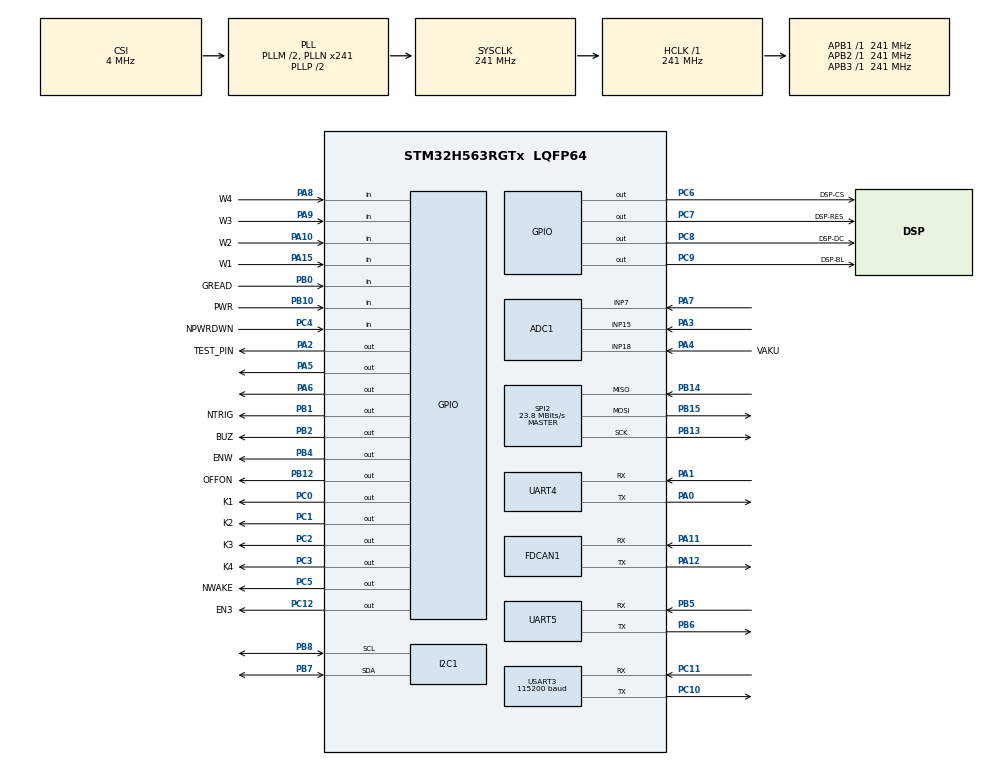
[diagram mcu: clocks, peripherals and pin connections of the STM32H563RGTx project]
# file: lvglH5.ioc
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ADC1.Channel-2\#ChannelRegularConversion=ADC_CHANNEL_18
ADC1.MonitoredBy-2\#ChannelRegularConversion=__NULL
ADC1.NbrOfConversionFlag=1
ADC1.OffsetNumber-2\#ChannelRegularConversion=ADC_OFFSET_NONE
ADC1.Rank-2\#ChannelRegularConversion=1
ADC1.SamplingTime-2\#ChannelRegularConversion=ADC_SAMPLETIME_2CYCLES_5
ADC1.master=1
BOOTPATH.BootPathName=LEGACY
BOOTPATH.UserSelectedBootPath=LEGACY
CORTEX_M33_NS.userName=CORTEX_M33
FDCAN1.CalculateBaudRateNominal=3012500
FDCAN1.CalculateTimeBitNominal=331
FDCAN1.CalculateTimeQuantumNominal=41.49377593360996
FDCAN1.NominalPrescaler=2
FDCAN1.NominalTimeSeg1=3
FDCAN1.NominalTimeSeg2=4
GPDMA1.LINKALLOCATEDPORT_GPDMACH7=DMA_LINK_ALLOCATED_PORT1
GPDMA1.PRIORITY_LL_GPDMACH6=DMA_LOW_PRIORITY_HIGH_WEIGHT
GPDMA1.PRIORITY_LL_GPDMACH7=DMA_LOW_PRIORITY_HIGH_WEIGHT
I2C1.Timing=0x50A09EED
Linkedlist.MDMA_Channel0.GP_SW.0.BlkHWRequest=DMA_BREQ_SINGLE_BURST
Linkedlist.MDMA_Channel0.GP_SW.0.DATAEXCHANGEDESRCBYTE=NONE
Linkedlist.MDMA_Channel0.GP_SW.0.DATAEXCHANGEDESTBYTE=NONE
Linkedlist.MDMA_Channel0.GP_SW.0.DATAEXCHANGEDESTHALFWORD=NONE
Linkedlist.MDMA_Channel0.GP_SW.0.DataAlignment=DMA_DATA_RIGHTALIGN_ZEROPADDED
Linkedlist.MDMA_Channel0.GP_SW.0.DataHandling=ENABLE
Linkedlist.MDMA_Channel0.GP_SW.0.DataSize=0
Linkedlist.MDMA_Channel0.GP_SW.0.DestBurstLength=1
Linkedlist.MDMA_Channel0.GP_SW.0.DestDataWidth=DMA_DEST_DATAWIDTH_BYTE
Linkedlist.MDMA_Channel0.GP_SW.0.DestInc=DMA_DINC_FIXED
Linkedlist.MDMA_Channel0.GP_SW.0.Direction=DMA_MEMORY_TO_PERIPH
Linkedlist.MDMA_Channel0.GP_SW.0.DstAddress=0
Linkedlist.MDMA_Channel0.GP_SW.0.Instance=MDMA_Channel0
Linkedlist.MDMA_Channel0.GP_SW.0.LL_MASTERDMA=GPDMA1
Linkedlist.MDMA_Channel0.GP_SW.0.LL_NAME=Queue_tx
Linkedlist.MDMA_Channel0.GP_SW.0.LL_TYPE=LINEAR
Linkedlist.MDMA_Channel0.GP_SW.0.Mode=DMA_NORMAL
Linkedlist.MDMA_Channel0.GP_SW.0.NODE_NAME=Node_tx
Linkedlist.MDMA_Channel0.GP_SW.0.Requestforcodegen=GPDMA1_REQUEST_SPI2_TX
Linkedlist.MDMA_Channel0.GP_SW.0.SrcAddress=0
Linkedlist.MDMA_Channel0.GP_SW.0.SrcBurstLength=1
Linkedlist.MDMA_Channel0.GP_SW.0.SrcDataWidth=DMA_SRC_DATAWIDTH_BYTE
Linkedlist.MDMA_Channel0.GP_SW.0.SrcInc=DMA_SINC_INCREMENTED
Linkedlist.MDMA_Channel0.GP_SW.0.TransferAllocatedPortSrc=DMA_SRC_ALLOCATED_PORT1
Linkedlist.MDMA_Channel0.GP_SW.0.TransferEventMode=DMA_TCEM_BLOCK_TRANSFER
Linkedlist.MDMA_Channel0.GP_SW.0.TriggerPolarity=DMA_TRIG_POLARITY_MASKED
Linkedlist.MDMA_Channel0.Request0=GP_SW
Linkedlist.MDMA_Channel0.RequestsNb=1
Linkedlist.MDMA_Channel1.GP_SW.0.BlkHWRequest=DMA_BREQ_SINGLE_BURST
Linkedlist.MDMA_Channel1.GP_SW.0.DATAEXCHANGEDESRCBYTE=NONE
Linkedlist.MDMA_Channel1.GP_SW.0.DATAEXCHANGEDESTBYTE=NONE
Linkedlist.MDMA_Channel1.GP_SW.0.DATAEXCHANGEDESTHALFWORD=NONE
Linkedlist.MDMA_Channel1.GP_SW.0.DataAlignment=DMA_DATA_RIGHTALIGN_ZEROPADDED
Linkedlist.MDMA_Channel1.GP_SW.0.DataHandling=ENABLE
Linkedlist.MDMA_Channel1.GP_SW.0.DataSize=0
Linkedlist.MDMA_Channel1.GP_SW.0.DestBurstLength=1
Linkedlist.MDMA_Channel1.GP_SW.0.DestDataWidth=DMA_DEST_DATAWIDTH_BYTE
Linkedlist.MDMA_Channel1.GP_SW.0.DestInc=DMA_DINC_INCREMENTED
Linkedlist.MDMA_Channel1.GP_SW.0.Direction=DMA_PERIPH_TO_MEMORY
Linkedlist.MDMA_Channel1.GP_SW.0.DstAddress=0
Linkedlist.MDMA_Channel1.GP_SW.0.Instance=MDMA_Channel1
Linkedlist.MDMA_Channel1.GP_SW.0.LL_MASTERDMA=GPDMA1
Linkedlist.MDMA_Channel1.GP_SW.0.LL_NAME=Queue_rx
Linkedlist.MDMA_Channel1.GP_SW.0.LL_TYPE=LINEAR
Linkedlist.MDMA_Channel1.GP_SW.0.Mode=DMA_NORMAL
Linkedlist.MDMA_Channel1.GP_SW.0.NODE_NAME=Node_rx
Linkedlist.MDMA_Channel1.GP_SW.0.Requestforcodegen=GPDMA1_REQUEST_SPI2_RX
Linkedlist.MDMA_Channel1.GP_SW.0.SrcAddress=0
Linkedlist.MDMA_Channel1.GP_SW.0.SrcBurstLength=1
Linkedlist.MDMA_Channel1.GP_SW.0.SrcDataWidth=DMA_SRC_DATAWIDTH_BYTE
Linkedlist.MDMA_Channel1.GP_SW.0.SrcInc=DMA_SINC_FIXED
Linkedlist.MDMA_Channel1.GP_SW.0.TransferAllocatedPortSrc=DMA_SRC_ALLOCATED_PORT0
Linkedlist.MDMA_Channel1.GP_SW.0.TransferEventMode=DMA_TCEM_BLOCK_TRANSFER
Linkedlist.MDMA_Channel1.GP_SW.0.TriggerPolarity=DMA_TRIG_POLARITY_MASKED
Linkedlist.MDMA_Channel1.Request0=GP_SW
Linkedlist.MDMA_Channel1.RequestsNb=1
Linkedlist.RequestSet0=MDMA_Channel0
Linkedlist.RequestSet1=MDMA_Channel1
Linkedlist.RequestSetsNb=2
Mcu.Family=STM32H5
Mcu.Name=STM32H563RGTx
Mcu.Package=LQFP64
NVIC.GPDMA1_Channel7_IRQn=true\:0\:0\:false\:false\:true\:true\:true\:true
NVIC.PriorityGroup=NVIC_PRIORITYGROUP_4
NVIC.SPI2_IRQn=true\:0\:0\:false\:false\:true\:true\:true\:true
NVIC.UART4_IRQn=true\:0\:0\:false\:false\:true\:true\:true\:true
NVIC.UART5_IRQn=true\:0\:0\:false\:false\:true\:true\:true\:true
NVIC.USART3_IRQn=true\:0\:0\:false\:false\:true\:true\:true\:true
PA0.Mode=Asynchronous
PA0.Signal=UART4_TX
PA1.Mode=Asynchronous
PA1.Signal=UART4_RX
PA10.GPIO_Label=W2
PA10.GPIO_PuPd=GPIO_PULLUP
PA10.Signal=GPIO_Input
PA11.Mode=FDCAN_Activate
PA11.Signal=FDCAN1_RX
PA12.Mode=FDCAN_Activate
PA12.Signal=FDCAN1_TX
PA13(JTMS/SWDIO).Mode=Serial_Wire
PA13(JTMS/SWDIO).Signal=DEBUG_JTMS-SWDIO
PA14(JTCK/SWCLK).Mode=Serial_Wire
PA14(JTCK/SWCLK).Signal=DEBUG_JTCK-SWCLK
PA15(JTDI).GPIO_Label=W1
PA15(JTDI).GPIO_PuPd=GPIO_PULLUP
PA15(JTDI).Signal=GPIO_Input
PA2.GPIO_Label=TEST_PIN
PA2.GPIO_Speed=GPIO_SPEED_FREQ_VERY_HIGH
PA2.PinState=GPIO_PIN_RESET
PA2.Signal=GPIO_Output
PA3.Signal=ADCx_INP15
PA4.GPIO_Label=VAKU
PA4.Signal=ADCx_INP18
PA5.GPIO_ModeDefaultOutputPP=GPIO_MODE_OUTPUT_OD
PA5.GPIO_PuPd=GPIO_NOPULL
PA5.GPIO_Speed=GPIO_SPEED_FREQ_HIGH
PA5.Signal=GPIO_Output
PA6.GPIO_ModeDefaultOutputPP=GPIO_MODE_OUTPUT_OD
PA6.GPIO_PuPd=GPIO_NOPULL
PA6.GPIO_Speed=GPIO_SPEED_FREQ_HIGH
PA6.Signal=GPIO_Output
PA7.Signal=ADCx_INP7
PA8.GPIO_Label=W4
PA8.GPIO_PuPd=GPIO_PULLUP
PA8.Signal=GPIO_Input
PA9.GPIO_Label=W3
PA9.GPIO_PuPd=GPIO_PULLUP
PA9.Signal=GPIO_Input
PB0.GPIO_Label=GREAD
PB0.Signal=GPIO_Input
PB1.GPIO_Label=NTRIG
PB1.GPIO_ModeDefaultOutputPP=GPIO_MODE_OUTPUT_OD
PB1.GPIO_PuPd=GPIO_NOPULL
PB1.PinState=GPIO_PIN_SET
PB1.Signal=GPIO_Output
PB10.GPIO_Label=PWR
PB10.Signal=GPIO_Input
PB12.GPIO_Label=OFFON
PB12.Signal=GPIO_Output
PB13.GPIO_Speed=GPIO_SPEED_FREQ_VERY_HIGH
PB13.Mode=Full_Duplex_Master
PB13.Signal=SPI2_SCK
PB14.GPIO_Speed=GPIO_SPEED_FREQ_VERY_HIGH
PB14.Mode=Full_Duplex_Master
PB14.Signal=SPI2_MISO
PB15.GPIO_Speed=GPIO_SPEED_FREQ_VERY_HIGH
PB15.Mode=Full_Duplex_Master
PB15.Signal=SPI2_MOSI
PB2.GPIO_Label=BUZ
PB2.Signal=GPIO_Output
PB4(NJTRST).GPIO_Label=ENW
PB4(NJTRST).GPIO_ModeDefaultOutputPP=GPIO_MODE_OUTPUT_OD
PB4(NJTRST).GPIO_PuPd=GPIO_NOPULL
PB4(NJTRST).Signal=GPIO_Output
PB5.Mode=Asynchronous
PB5.Signal=UART5_RX
PB6.Mode=Asynchronous
PB6.Signal=UART5_TX
PB7.Mode=I2C
PB7.Signal=I2C1_SDA
PB8.Mode=I2C
PB8.Signal=I2C1_SCL
PC0.GPIO_Label=K1
PC0.GPIO_ModeDefaultOutputPP=GPIO_MODE_OUTPUT_OD
PC0.GPIO_PuPd=GPIO_PULLUP
PC0.GPIO_Speed=GPIO_SPEED_FREQ_MEDIUM
PC0.Signal=GPIO_Output
PC1.GPIO_Label=K2
PC1.GPIO_ModeDefaultOutputPP=GPIO_MODE_OUTPUT_OD
PC1.GPIO_PuPd=GPIO_PULLUP
PC1.GPIO_Speed=GPIO_SPEED_FREQ_MEDIUM
PC1.Signal=GPIO_Output
PC10.Mode=Asynchronous
PC10.Signal=USART3_TX
PC11.Mode=Asynchronous
PC11.Signal=USART3_RX
PC12.GPIO_Label=EN3
PC12.GPIO_Speed=GPIO_SPEED_FREQ_VERY_HIGH
PC12.Signal=GPIO_Output
PC2.GPIO_Label=K3
PC2.GPIO_ModeDefaultOutputPP=GPIO_MODE_OUTPUT_OD
PC2.GPIO_PuPd=GPIO_PULLUP
PC2.GPIO_Speed=GPIO_SPEED_FREQ_MEDIUM
PC2.Signal=GPIO_Output
PC3.GPIO_Label=K4
PC3.GPIO_ModeDefaultOutputPP=GPIO_MODE_OUTPUT_OD
PC3.GPIO_PuPd=GPIO_PULLUP
PC3.GPIO_Speed=GPIO_SPEED_FREQ_MEDIUM
PC3.Signal=GPIO_Output
PC4.GPIO_Label=NPWRDWN
PC4.Signal=GPIO_Input
PC5.GPIO_Label=NWAKE
PC5.GPIO_ModeDefaultOutputPP=GPIO_MODE_OUTPUT_OD
PC5.GPIO_PuPd=GPIO_NOPULL
PC5.Signal=GPIO_Output
PC6.GPIO_Label=DSP-CS
PC6.GPIO_Speed=GPIO_SPEED_FREQ_HIGH
PC6.Signal=GPIO_Output
PC7.GPIO_Label=DSP-RES
PC7.GPIO_Speed=GPIO_SPEED_FREQ_HIGH
PC7.Signal=GPIO_Output
PC8.GPIO_Label=DSP-DC
PC8.GPIO_Speed=GPIO_SPEED_FREQ_HIGH
PC8.Signal=GPIO_Output
PC9.GPIO_Label=DSP-BL
PC9.GPIO_Speed=GPIO_SPEED_FREQ_HIGH
PC9.Signal=GPIO_Output
PWR.pwrPrivilege=PWR_PRIVILEGE_NO
ProjectManager.HeapSize=0x200
ProjectManager.StackSize=0x400
ProjectManager.TargetToolchain=STM32CubeIDE
RCC.ADCCLockSelection=RCC_ADCDACCLKSOURCE_HSI
RCC.ADCFreq_Value=32000000
RCC.AHBFreq_Value=241000000
RCC.APB1Freq_Value=241000000
RCC.APB1TimFreq_Value=241000000
RCC.APB2Freq_Value=241000000
RCC.APB2TimFreq_Value=241000000
RCC.APB3Freq_Value=241000000
RCC.CSI_VALUE=4000000
RCC.CortexFreq_Value=241000000
RCC.EPOD_VALUE=4000000
RCC.FDCANClockSelection=RCC_FDCANCLKSOURCE_PLL1Q
RCC.HCLKFreq_Value=241000000
RCC.HSE_VALUE=8000000
RCC.HSI48_VALUE=48000000
RCC.HSI_VALUE=64000000
RCC.LSE_VALUE=32768
RCC.LSIRC_VALUE=32000
RCC.PLL1Q=10
RCC.PLL2M=2
RCC.PLL2N=119
RCC.PLL2P=5
RCC.PLL3M=2
RCC.PLL3N=119
RCC.PLLM=2
RCC.PLLN=241
RCC.SPI2CLockSelection=RCC_SPI2CLKSOURCE_PLL2P
RCC.SYSCLKFreq_VALUE=241000000
RCC.SYSCLKSource=RCC_SYSCLKSOURCE_PLLCLK
RCC.USBFreq_Value=48000000
RCC.VCOOutputFreq_Value=482000000
SH.ADCx_INP15.0=ADC1_INP15,IN15-Single-Ended
SH.ADCx_INP18.0=ADC1_INP18,IN18-Single-Ended
SH.ADCx_INP7.0=ADC1_INP7,IN7-Single-Ended
SPI2.BaudRatePrescaler=SPI_BAUDRATEPRESCALER_2
SPI2.CalculateBaudRate=23.8 MBits/s
SPI2.DataSize=SPI_DATASIZE_8BIT
SPI2.Direction=SPI_DIRECTION_2LINES
SPI2.IOSwap=SPI_IO_SWAP_DISABLE
SPI2.MasterKeepIOState=SPI_MASTER_KEEP_IO_STATE_ENABLE
SPI2.Mode=SPI_MODE_MASTER
SPI2.NSSPMode=SPI_NSS_PULSE_DISABLE
SPI2.VirtualType=VM_MASTER
UART4.SwapParam=UART_ADVFEATURE_SWAP_ENABLE
UART5.DMADisableonRxErrorParam=UART_ADVFEATURE_DMA_ENABLEONRXERROR
UART5.FIFOMode=FIFOMODE_DISABLE
UART5.OneBitSampling=UART_ONE_BIT_SAMPLE_DISABLE
UART5.OverSampling=UART_OVERSAMPLING_16
UART5.OverrunDisableParam=UART_ADVFEATURE_OVERRUN_ENABLE
UART5.SwapParam=UART_ADVFEATURE_SWAP_ENABLE
USART3.BaudRate=115200
USART3.VirtualMode=VM_ASYNC
USART3.VirtualMode-Asynchronous=VM_ASYNC
VP_BOOTPATH_VS_BOOTPATH.Mode=BP_Activate
VP_CORTEX_M33_NS_VS_Hclk.Mode=Hclk_Mode
VP_DCACHE1_VS_DCACHE.Mode=DCACHE_Activate
VP_GPDMA1_VS_GPDMACH6.Mode=LINKEDLIST_GPDMACH6
VP_GPDMA1_VS_GPDMACH7.Mode=LINKEDLIST_GPDMACH7
VP_ICACHE_VS_ICACHE.Mode=DefaultMode
VP_MEMORYMAP_VS_MEMORYMAP.Mode=CurAppReg
VP_PWR_VS_DBSignals.Mode=DisableDeadBatterySignals
VP_PWR_VS_LPOM.Mode=PowerOptimisation
VP_PWR_VS_SECSignals.Mode=Security/Privilege
board=custom

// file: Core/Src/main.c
/* USER CODE BEGIN Header */
/**
  ******************************************************************************
  * @file           : main.c
  * @brief          : Main program body
  ******************************************************************************
  * @attention
  *
  * Copyright (c) 2023 STMicroelectronics.
  * All rights reserved.
  *
  * This software is licensed under terms that can be found in the LICENSE file
  * in the root directory of this software component.
  * If no LICENSE file comes with this software, it is provided AS-IS.
  *
  ******************************************************************************
  */
/* USER CODE END Header */
#include "main.h"

/* USER CODE BEGIN Includes */
#include "lvgl.h"
#include "LCDController.h"
#include "lv_port_indev_template.h"
#include "demos/benchmark/lv_demo_benchmark.h"
#include "ui.h"
#include "linked_list.h"

#include "my_touch.h"

/* USER CODE END Includes */

ADC_HandleTypeDef hadc1;

DCACHE_HandleTypeDef hdcache1;

FDCAN_HandleTypeDef hfdcan1;

DMA_HandleTypeDef handle_GPDMA1_Channel7;
DMA_HandleTypeDef handle_GPDMA1_Channel6;

I2C_HandleTypeDef hi2c1;

SPI_HandleTypeDef hspi2;

UART_HandleTypeDef huart4;
UART_HandleTypeDef huart5;
UART_HandleTypeDef huart3;

/* USER CODE BEGIN PV */
extern DMA_QListTypeDef Queue_tx;
extern DMA_QListTypeDef Queue_rx;

//extern lv_obj_t * chart;
extern objects_t objects;

extern  lv_meter_indicator_t * indicator1;

extern bool touchpad_pressed;
extern uint16_t touchpad_x, touchpad_y;

 ADC_ChannelConfTypeDef sConfig_read;
/* USER CODE END PV */

void SystemClock_Config(void);
static void MX_GPIO_Init(void);
static void MX_GPDMA1_Init(void);
static void MX_FDCAN1_Init(void);
static void MX_UART4_Init(void);
static void MX_UART5_Init(void);
static void MX_USART3_UART_Init(void);
static void MX_ADC1_Init(void);
static void MX_SPI2_Init(void);
static void MX_I2C1_Init(void);
static void MX_ICACHE_Init(void);
static void MX_DCACHE1_Init(void);
/* USER CODE BEGIN PFP */
#define RS485_UART huart3

void uartTransmitStr(UART_HandleTypeDef *huart, const char * buff)
{
	uint32_t Tickstart, Timeout=100;
	while(*buff)
	{
		Tickstart=HAL_GetTick();
		while(!(huart->Instance->ISR & UART_FLAG_TXE)) //ensure transmit register empty
			if (((HAL_GetTick() - Tickstart) > Timeout) || (Timeout == 0U)) //timeout
				return ;

		//LL_USART_TransmitData8(huart->Instance, *buff);
		huart->Instance->TDR=*buff;
		buff++;
	}

	Tickstart=HAL_GetTick();
	while(!(huart->Instance->ISR & UART_FLAG_TC)) //ensure transmission complete
		if (((HAL_GetTick() - Tickstart) > Timeout) || (Timeout == 0U))
			return ;
}

void rs485TransmitStr(const char * buff)
{
	HAL_GPIO_WritePin(EN3_GPIO_Port,EN3_Pin,GPIO_PIN_SET);
	//HAL_UART_Transmit(&huart3, buff,rxCnt/* strlen(buff)+1*/,1000);
	//HAL_Delay(1);

//	int x=HAL_UART_Transmit(&RS485_UART, (uint8_t*)buff,strlen(buff)+1,1000);
//	if(x!=HAL_OK) return;

	uartTransmitStr(&RS485_UART, buff);
	//uartTransmitBytes(&RS485_UART, buff, strlen(buff));

	//HAL_Delay(1);
	HAL_GPIO_WritePin(EN3_GPIO_Port,EN3_Pin,GPIO_PIN_RESET);
	//HAL_Delay(100);
}

void my_log_cb(const char * buf)
{
//    serial_send(buf, strlen(buf));
}
/* USER CODE END PFP */

int main(void)
{

  /* MCU Configuration--------------------------------------------------------*/

  /* Reset of all peripherals, Initializes the Flash interface and the Systick. */
  HAL_Init();

  /* Configure the system clock */
  SystemClock_Config();

  /* Initialize all configured peripherals */
  MX_GPIO_Init();
  MX_GPDMA1_Init();
  MX_FDCAN1_Init();
  MX_UART4_Init();
  MX_UART5_Init();
  MX_USART3_UART_Init();
  MX_ADC1_Init();
  MX_SPI2_Init();
  MX_I2C1_Init();
  MX_ICACHE_Init();
  MX_DCACHE1_Init();
  /* USER CODE BEGIN 2 */
  //mainAdc();

  /* Perform ADC calibration */
  if (HAL_ADCEx_Calibration_Start(&hadc1, ADC_SINGLE_ENDED) != HAL_OK)
  {
    /* Calibration Error */
    Error_Handler();
  }

  Touch_Init();

// // X_Init();
//  while(1)
//  {
//		static float x1 = 0, y1 = 0;
//		if (TouchRead(&x1, &y1))
//		{
//			x1 = (x1 - 383) / (3793-383) * 320;
//			y1 = (y1 - 414) / (3676-414) * 280;
//
//		}
//  }

  MX_Queue_tx_Config();
  HAL_DMAEx_List_LinkQ(&handle_GPDMA1_Channel7, &Queue_tx);
  __HAL_LINKDMA(&hspi2, hdmatx, handle_GPDMA1_Channel7);
//  MX_Queue_rx_Config();
//  HAL_DMAEx_List_LinkQ(&handle_GPDMA1_Channel6, &Queue_rx);
//  __HAL_LINKDMA(&hspi2, hdmarx, handle_GPDMA1_Channel6);

  rs485TransmitStr("test\r\n");
  lv_log_register_print_cb(rs485TransmitStr);
  lv_init();

  lv_port_disp_init();
  lv_port_indev_init();
  HAL_GPIO_WritePin(DSP_BL_GPIO_Port,DSP_BL_Pin,GPIO_PIN_SET);HAL_GPIO_WritePin(DSP_BL_GPIO_Port,DSP_BL_Pin,GPIO_PIN_SET);
  // Change the active screen's background color
  lv_obj_set_style_bg_color(lv_scr_act(), lv_color_hex(0x003a57), LV_PART_MAIN);
  lv_obj_set_style_text_color(lv_scr_act(), lv_color_hex(0xffffff), LV_PART_MAIN);

//  /*Create a spinner*/
//  lv_obj_t * spinner = lv_spinner_create(lv_scr_act(), 1000, 60);
//  lv_obj_set_size(spinner, 64, 64);
//  lv_obj_align(spinner, LV_ALIGN_BOTTOM_MID, 0, 0);
//
//
//  HAL_Delay(1000);
//  lv_obj_invalidate(spinner);

 // lv_demo_benchmark();
  ui_init();

  /* USER CODE END 2 */

  /* Infinite loop */
  /* USER CODE BEGIN WHILE */
  lv_chart_series_t * ser1 = lv_chart_add_series(objects.chart1, lv_palette_main(LV_PALETTE_GREEN), LV_CHART_AXIS_PRIMARY_Y);
  lv_chart_series_t * ser2 = lv_chart_add_series(objects.chart1, lv_palette_main(LV_PALETTE_RED), LV_CHART_AXIS_SECONDARY_Y);
  uint16_t x=0, y=0, yy=1;;
  int16_t xx=0, add=1;
  char buff[100];

  while (1)
  {
    /* USER CODE END WHILE */

    /* USER CODE BEGIN 3 */
	  lv_timer_handler();
	  //HAL_Delay(5);
	 // continue;

		static float x1 = 0, y1 = 0;
		if (TouchRead(&x1, &y1))
		{
			x1 = (x1 - 383) / (3793-383) * 320;
			y1 = (y1 - 414) / (3676-414) * 240;
			touchpad_pressed=1;
			touchpad_x=x1;
			touchpad_y=240-y1;
		}
		else
			touchpad_pressed=0;

	  if(y>800)
	  {
		 // yy++;
		  y=0;
		  if(yy>3) yy=1;
		  loadScreen(yy);
	  }

	  if(x>3)
	  {

		  x=0;
//          uint32_t i;
//          for(i = 0; i < 10; i++) {
              /*Set the next points on 'ser1'*/
              lv_chart_set_next_value(objects.chart1, ser1, lv_rand(10, 50));
              lv_chart_set_next_value(objects.chart1, ser2, lv_rand(50, 90));
              /*Directly set points on 'ser2'*/
             // ser2_y_points[i] = lv_rand(50, 90);
//          }
//
          lv_chart_refresh(objects.chart1); /*Required after direct set*/
	  }
	  if(xx<80)
	  {
		  lv_obj_set_style_arc_color(objects.arc1, lv_color_hex(0xff2196f3),  LV_PART_INDICATOR | LV_STATE_DEFAULT );
		  lv_obj_set_style_bg_color(objects.arc1, lv_color_hex(0xff2196f3), LV_PART_KNOB);
	  }
	  else
	  {
		  lv_obj_set_style_arc_color(objects.arc1, lv_color_hex(0xffa01b1b),  LV_PART_INDICATOR | LV_STATE_DEFAULT);
		  lv_obj_set_style_bg_color(objects.arc1, lv_color_hex(0xffa01b1b), LV_PART_KNOB);
	  }

	  lv_arc_set_value(objects.arc1, xx);
	  lv_meter_set_indicator_value(objects.meter1, indicator1, 3*xx);
	  sprintf(buff, "%3d", xx);
	  lv_label_set_text(objects.val1, buff);
	  x++;
	  y++;

	  if(xx>99) add=-1;
	  if(xx<1) add=1;
	  xx+=add;
  }
  /* USER CODE END 3 */
}

void SystemClock_Config(void)
{
  RCC_OscInitTypeDef RCC_OscInitStruct = {0};
  RCC_ClkInitTypeDef RCC_ClkInitStruct = {0};

  /** Configure the main internal regulator output voltage
  */
  __HAL_PWR_VOLTAGESCALING_CONFIG(PWR_REGULATOR_VOLTAGE_SCALE0);

  while(!__HAL_PWR_GET_FLAG(PWR_FLAG_VOSRDY)) {}

  /** Initializes the RCC Oscillators according to the specified parameters
  * in the RCC_OscInitTypeDef structure.
  */
  RCC_OscInitStruct.OscillatorType = RCC_OSCILLATORTYPE_HSI|RCC_OSCILLATORTYPE_CSI;
  RCC_OscInitStruct.HSIState = RCC_HSI_ON;
  RCC_OscInitStruct.HSIDiv = RCC_HSI_DIV2;
  RCC_OscInitStruct.HSICalibrationValue = RCC_HSICALIBRATION_DEFAULT;
  RCC_OscInitStruct.CSIState = RCC_CSI_ON;
  RCC_OscInitStruct.CSICalibrationValue = RCC_CSICALIBRATION_DEFAULT;
  RCC_OscInitStruct.PLL.PLLState = RCC_PLL_ON;
  RCC_OscInitStruct.PLL.PLLSource = RCC_PLL1_SOURCE_CSI;
  RCC_OscInitStruct.PLL.PLLM = 2;
  RCC_OscInitStruct.PLL.PLLN = 241;
  RCC_OscInitStruct.PLL.PLLP = 2;
  RCC_OscInitStruct.PLL.PLLQ = 10;
  RCC_OscInitStruct.PLL.PLLR = 2;
  RCC_OscInitStruct.PLL.PLLRGE = RCC_PLL1_VCIRANGE_1;
  RCC_OscInitStruct.PLL.PLLVCOSEL = RCC_PLL1_VCORANGE_WIDE;
  RCC_OscInitStruct.PLL.PLLFRACN = 0;
  if (HAL_RCC_OscConfig(&RCC_OscInitStruct) != HAL_OK)
  {
    Error_Handler();
  }

  /** Initializes the CPU, AHB and APB buses clocks
  */
  RCC_ClkInitStruct.ClockType = RCC_CLOCKTYPE_HCLK|RCC_CLOCKTYPE_SYSCLK
                              |RCC_CLOCKTYPE_PCLK1|RCC_CLOCKTYPE_PCLK2
                              |RCC_CLOCKTYPE_PCLK3;
  RCC_ClkInitStruct.SYSCLKSource = RCC_SYSCLKSOURCE_PLLCLK;
  RCC_ClkInitStruct.AHBCLKDivider = RCC_SYSCLK_DIV1;
  RCC_ClkInitStruct.APB1CLKDivider = RCC_HCLK_DIV1;
  RCC_ClkInitStruct.APB2CLKDivider = RCC_HCLK_DIV1;
  RCC_ClkInitStruct.APB3CLKDivider = RCC_HCLK_DIV1;

  if (HAL_RCC_ClockConfig(&RCC_ClkInitStruct, FLASH_LATENCY_5) != HAL_OK)
  {
    Error_Handler();
  }

  /** Configure the programming delay
  */
  __HAL_FLASH_SET_PROGRAM_DELAY(FLASH_PROGRAMMING_DELAY_2);
}

static void MX_ADC1_Init(void)
{

  ADC_ChannelConfTypeDef sConfig = {0};

  /** Common config
  */
  hadc1.Instance = ADC1;
  hadc1.Init.ClockPrescaler = ADC_CLOCK_ASYNC_DIV1;
  hadc1.Init.Resolution = ADC_RESOLUTION_12B;
  hadc1.Init.DataAlign = ADC_DATAALIGN_RIGHT;
  hadc1.Init.ScanConvMode = ADC_SCAN_DISABLE;
  hadc1.Init.EOCSelection = ADC_EOC_SINGLE_CONV;
  hadc1.Init.LowPowerAutoWait = DISABLE;
  hadc1.Init.ContinuousConvMode = DISABLE;
  hadc1.Init.NbrOfConversion = 1;
  hadc1.Init.DiscontinuousConvMode = DISABLE;
  hadc1.Init.ExternalTrigConv = ADC_SOFTWARE_START;
  hadc1.Init.ExternalTrigConvEdge = ADC_EXTERNALTRIGCONVEDGE_NONE;
  hadc1.Init.DMAContinuousRequests = DISABLE;
  hadc1.Init.SamplingMode = ADC_SAMPLING_MODE_NORMAL;
  hadc1.Init.Overrun = ADC_OVR_DATA_PRESERVED;
  hadc1.Init.OversamplingMode = DISABLE;
  if (HAL_ADC_Init(&hadc1) != HAL_OK)
  {
    Error_Handler();
  }

  /** Configure Regular Channel
  */
  sConfig.Channel = ADC_CHANNEL_18;
  sConfig.Rank = ADC_REGULAR_RANK_1;
  sConfig.SamplingTime = ADC_SAMPLETIME_2CYCLES_5;
  sConfig.SingleDiff = ADC_SINGLE_ENDED;
  sConfig.OffsetNumber = ADC_OFFSET_NONE;
  sConfig.Offset = 0;
  if (HAL_ADC_ConfigChannel(&hadc1, &sConfig) != HAL_OK)
  {
    Error_Handler();
  }
  /* USER CODE BEGIN ADC1_Init 2 */
  memcpy(&sConfig_read,&sConfig,sizeof(sConfig));
  /* USER CODE END ADC1_Init 2 */

}

static void MX_DCACHE1_Init(void)
{

  hdcache1.Instance = DCACHE1;
  hdcache1.Init.ReadBurstType = DCACHE_READ_BURST_WRAP;
  if (HAL_DCACHE_Init(&hdcache1) != HAL_OK)
  {
    Error_Handler();
  }

}

static void MX_FDCAN1_Init(void)
{

  hfdcan1.Instance = FDCAN1;
  hfdcan1.Init.ClockDivider = FDCAN_CLOCK_DIV1;
  hfdcan1.Init.FrameFormat = FDCAN_FRAME_CLASSIC;
  hfdcan1.Init.Mode = FDCAN_MODE_NORMAL;
  hfdcan1.Init.AutoRetransmission = DISABLE;
  hfdcan1.Init.TransmitPause = DISABLE;
  hfdcan1.Init.ProtocolException = DISABLE;
  hfdcan1.Init.NominalPrescaler = 2;
  hfdcan1.Init.NominalSyncJumpWidth = 1;
  hfdcan1.Init.NominalTimeSeg1 = 3;
  hfdcan1.Init.NominalTimeSeg2 = 4;
  hfdcan1.Init.DataPrescaler = 1;
  hfdcan1.Init.DataSyncJumpWidth = 1;
  hfdcan1.Init.DataTimeSeg1 = 1;
  hfdcan1.Init.DataTimeSeg2 = 1;
  hfdcan1.Init.StdFiltersNbr = 0;
  hfdcan1.Init.ExtFiltersNbr = 0;
  hfdcan1.Init.TxFifoQueueMode = FDCAN_TX_FIFO_OPERATION;
  if (HAL_FDCAN_Init(&hfdcan1) != HAL_OK)
  {
    Error_Handler();
  }

}

static void MX_GPDMA1_Init(void)
{

  /* Peripheral clock enable */
  __HAL_RCC_GPDMA1_CLK_ENABLE();

  /* GPDMA1 interrupt Init */
    HAL_NVIC_SetPriority(GPDMA1_Channel7_IRQn, 0, 0);
    HAL_NVIC_EnableIRQ(GPDMA1_Channel7_IRQn);

  handle_GPDMA1_Channel7.Instance = GPDMA1_Channel7;
  handle_GPDMA1_Channel7.InitLinkedList.Priority = DMA_LOW_PRIORITY_HIGH_WEIGHT;
  handle_GPDMA1_Channel7.InitLinkedList.LinkStepMode = DMA_LSM_FULL_EXECUTION;
  handle_GPDMA1_Channel7.InitLinkedList.LinkAllocatedPort = DMA_LINK_ALLOCATED_PORT1;
  handle_GPDMA1_Channel7.InitLinkedList.TransferEventMode = DMA_TCEM_LAST_LL_ITEM_TRANSFER;
  handle_GPDMA1_Channel7.InitLinkedList.LinkedListMode = DMA_LINKEDLIST_NORMAL;
  if (HAL_DMAEx_List_Init(&handle_GPDMA1_Channel7) != HAL_OK)
  {
    Error_Handler();
  }
  if (HAL_DMA_ConfigChannelAttributes(&handle_GPDMA1_Channel7, DMA_CHANNEL_NPRIV) != HAL_OK)
  {
    Error_Handler();
  }
  handle_GPDMA1_Channel6.Instance = GPDMA1_Channel6;
  handle_GPDMA1_Channel6.InitLinkedList.Priority = DMA_LOW_PRIORITY_HIGH_WEIGHT;
  handle_GPDMA1_Channel6.InitLinkedList.LinkStepMode = DMA_LSM_FULL_EXECUTION;
  handle_GPDMA1_Channel6.InitLinkedList.LinkAllocatedPort = DMA_LINK_ALLOCATED_PORT0;
  handle_GPDMA1_Channel6.InitLinkedList.TransferEventMode = DMA_TCEM_LAST_LL_ITEM_TRANSFER;
  handle_GPDMA1_Channel6.InitLinkedList.LinkedListMode = DMA_LINKEDLIST_NORMAL;
  if (HAL_DMAEx_List_Init(&handle_GPDMA1_Channel6) != HAL_OK)
  {
    Error_Handler();
  }
  if (HAL_DMA_ConfigChannelAttributes(&handle_GPDMA1_Channel6, DMA_CHANNEL_NPRIV) != HAL_OK)
  {
    Error_Handler();
  }

}

static void MX_I2C1_Init(void)
{

  hi2c1.Instance = I2C1;
  hi2c1.Init.Timing = 0x50A09EED;
  hi2c1.Init.OwnAddress1 = 0;
  hi2c1.Init.AddressingMode = I2C_ADDRESSINGMODE_7BIT;
  hi2c1.Init.DualAddressMode = I2C_DUALADDRESS_DISABLE;
  hi2c1.Init.OwnAddress2 = 0;
  hi2c1.Init.OwnAddress2Masks = I2C_OA2_NOMASK;
  hi2c1.Init.GeneralCallMode = I2C_GENERALCALL_DISABLE;
  hi2c1.Init.NoStretchMode = I2C_NOSTRETCH_DISABLE;
  if (HAL_I2C_Init(&hi2c1) != HAL_OK)
  {
    Error_Handler();
  }

  /** Configure Analogue filter
  */
  if (HAL_I2CEx_ConfigAnalogFilter(&hi2c1, I2C_ANALOGFILTER_ENABLE) != HAL_OK)
  {
    Error_Handler();
  }

  /** Configure Digital filter
  */
  if (HAL_I2CEx_ConfigDigitalFilter(&hi2c1, 0) != HAL_OK)
  {
    Error_Handler();
  }

}

static void MX_ICACHE_Init(void)
{

  /** Enable instruction cache (default 2-ways set associative cache)
  */
  if (HAL_ICACHE_Enable() != HAL_OK)
  {
    Error_Handler();
  }

}

static void MX_SPI2_Init(void)
{

  /* SPI2 parameter configuration*/
  hspi2.Instance = SPI2;
  hspi2.Init.Mode = SPI_MODE_MASTER;
  hspi2.Init.Direction = SPI_DIRECTION_2LINES;
  hspi2.Init.DataSize = SPI_DATASIZE_8BIT;
  hspi2.Init.CLKPolarity = SPI_POLARITY_LOW;
  hspi2.Init.CLKPhase = SPI_PHASE_1EDGE;
  hspi2.Init.NSS = SPI_NSS_SOFT;
  hspi2.Init.BaudRatePrescaler = SPI_BAUDRATEPRESCALER_2;
  hspi2.Init.FirstBit = SPI_FIRSTBIT_MSB;
  hspi2.Init.TIMode = SPI_TIMODE_DISABLE;
  hspi2.Init.CRCCalculation = SPI_CRCCALCULATION_DISABLE;
  hspi2.Init.CRCPolynomial = 0x7;
  hspi2.Init.NSSPMode = SPI_NSS_PULSE_DISABLE;
  hspi2.Init.NSSPolarity = SPI_NSS_POLARITY_LOW;
  hspi2.Init.FifoThreshold = SPI_FIFO_THRESHOLD_01DATA;
  hspi2.Init.MasterSSIdleness = SPI_MASTER_SS_IDLENESS_00CYCLE;
  hspi2.Init.MasterInterDataIdleness = SPI_MASTER_INTERDATA_IDLENESS_00CYCLE;
  hspi2.Init.MasterReceiverAutoSusp = SPI_MASTER_RX_AUTOSUSP_DISABLE;
  hspi2.Init.MasterKeepIOState = SPI_MASTER_KEEP_IO_STATE_ENABLE;
  hspi2.Init.IOSwap = SPI_IO_SWAP_DISABLE;
  hspi2.Init.ReadyMasterManagement = SPI_RDY_MASTER_MANAGEMENT_INTERNALLY;
  hspi2.Init.ReadyPolarity = SPI_RDY_POLARITY_HIGH;
  if (HAL_SPI_Init(&hspi2) != HAL_OK)
  {
    Error_Handler();
  }

}

static void MX_UART4_Init(void)
{

  huart4.Instance = UART4;
  huart4.Init.BaudRate = 115200;
  huart4.Init.WordLength = UART_WORDLENGTH_8B;
  huart4.Init.StopBits = UART_STOPBITS_1;
  huart4.Init.Parity = UART_PARITY_NONE;
  huart4.Init.Mode = UART_MODE_TX_RX;
  huart4.Init.HwFlowCtl = UART_HWCONTROL_NONE;
  huart4.Init.OverSampling = UART_OVERSAMPLING_16;
  huart4.Init.OneBitSampling = UART_ONE_BIT_SAMPLE_DISABLE;
  huart4.Init.ClockPrescaler = UART_PRESCALER_DIV1;
  huart4.AdvancedInit.AdvFeatureInit = UART_ADVFEATURE_SWAP_INIT;
  huart4.AdvancedInit.Swap = UART_ADVFEATURE_SWAP_ENABLE;
  if (HAL_UART_Init(&huart4) != HAL_OK)
  {
    Error_Handler();
  }
  if (HAL_UARTEx_SetTxFifoThreshold(&huart4, UART_TXFIFO_THRESHOLD_1_8) != HAL_OK)
  {
    Error_Handler();
  }
  if (HAL_UARTEx_SetRxFifoThreshold(&huart4, UART_RXFIFO_THRESHOLD_1_8) != HAL_OK)
  {
    Error_Handler();
  }
  if (HAL_UARTEx_DisableFifoMode(&huart4) != HAL_OK)
  {
    Error_Handler();
  }

}

static void MX_UART5_Init(void)
{

  huart5.Instance = UART5;
  huart5.Init.BaudRate = 115200;
  huart5.Init.WordLength = UART_WORDLENGTH_8B;
  huart5.Init.StopBits = UART_STOPBITS_1;
  huart5.Init.Parity = UART_PARITY_NONE;
  huart5.Init.Mode = UART_MODE_TX_RX;
  huart5.Init.HwFlowCtl = UART_HWCONTROL_NONE;
  huart5.Init.OverSampling = UART_OVERSAMPLING_16;
  huart5.Init.OneBitSampling = UART_ONE_BIT_SAMPLE_DISABLE;
  huart5.Init.ClockPrescaler = UART_PRESCALER_DIV1;
  huart5.AdvancedInit.AdvFeatureInit = UART_ADVFEATURE_SWAP_INIT;
  huart5.AdvancedInit.Swap = UART_ADVFEATURE_SWAP_ENABLE;
  if (HAL_UART_Init(&huart5) != HAL_OK)
  {
    Error_Handler();
  }
  if (HAL_UARTEx_SetTxFifoThreshold(&huart5, UART_TXFIFO_THRESHOLD_1_8) != HAL_OK)
  {
    Error_Handler();
  }
  if (HAL_UARTEx_SetRxFifoThreshold(&huart5, UART_RXFIFO_THRESHOLD_1_8) != HAL_OK)
  {
    Error_Handler();
  }
  if (HAL_UARTEx_DisableFifoMode(&huart5) != HAL_OK)
  {
    Error_Handler();
  }

}

static void MX_USART3_UART_Init(void)
{

  huart3.Instance = USART3;
  huart3.Init.BaudRate = 115200;
  huart3.Init.WordLength = UART_WORDLENGTH_8B;
  huart3.Init.StopBits = UART_STOPBITS_1;
  huart3.Init.Parity = UART_PARITY_NONE;
  huart3.Init.Mode = UART_MODE_TX_RX;
  huart3.Init.HwFlowCtl = UART_HWCONTROL_NONE;
  huart3.Init.OverSampling = UART_OVERSAMPLING_16;
  huart3.Init.OneBitSampling = UART_ONE_BIT_SAMPLE_DISABLE;
  huart3.Init.ClockPrescaler = UART_PRESCALER_DIV1;
  huart3.AdvancedInit.AdvFeatureInit = UART_ADVFEATURE_NO_INIT;
  if (HAL_UART_Init(&huart3) != HAL_OK)
  {
    Error_Handler();
  }
  if (HAL_UARTEx_SetTxFifoThreshold(&huart3, UART_TXFIFO_THRESHOLD_1_8) != HAL_OK)
  {
    Error_Handler();
  }
  if (HAL_UARTEx_SetRxFifoThreshold(&huart3, UART_RXFIFO_THRESHOLD_1_8) != HAL_OK)
  {
    Error_Handler();
  }
  if (HAL_UARTEx_DisableFifoMode(&huart3) != HAL_OK)
  {
    Error_Handler();
  }

}

static void MX_GPIO_Init(void)
{
  GPIO_InitTypeDef GPIO_InitStruct = {0};

  /* GPIO Ports Clock Enable */
  __HAL_RCC_GPIOC_CLK_ENABLE();
  __HAL_RCC_GPIOA_CLK_ENABLE();
  __HAL_RCC_GPIOB_CLK_ENABLE();

  /*Configure GPIO pin Output Level */
  HAL_GPIO_WritePin(GPIOC, K1_Pin|K2_Pin|K3_Pin|K4_Pin
                          |NWAKE_Pin|DSP_CS_Pin|DSP_RES_Pin|DSP_DC_Pin
                          |DSP_BL_Pin|EN3_Pin, GPIO_PIN_RESET);

  /*Configure GPIO pin Output Level */
  HAL_GPIO_WritePin(GPIOA, TEST_PIN_Pin|GPIO_PIN_5|GPIO_PIN_6, GPIO_PIN_RESET);

  /*Configure GPIO pin Output Level */
  HAL_GPIO_WritePin(NTRIG_GPIO_Port, NTRIG_Pin, GPIO_PIN_SET);

  /*Configure GPIO pin Output Level */
  HAL_GPIO_WritePin(GPIOB, BUZ_Pin|OFFON_Pin|ENW_Pin, GPIO_PIN_RESET);

  /*Configure GPIO pins : K1_Pin K2_Pin K3_Pin K4_Pin */
  GPIO_InitStruct.Pin = K1_Pin|K2_Pin|K3_Pin|K4_Pin;
  GPIO_InitStruct.Mode = GPIO_MODE_OUTPUT_OD;
  GPIO_InitStruct.Pull = GPIO_PULLUP;
  GPIO_InitStruct.Speed = GPIO_SPEED_FREQ_MEDIUM;
  HAL_GPIO_Init(GPIOC, &GPIO_InitStruct);

  /*Configure GPIO pin : TEST_PIN_Pin */
  GPIO_InitStruct.Pin = TEST_PIN_Pin;
  GPIO_InitStruct.Mode = GPIO_MODE_OUTPUT_PP;
  GPIO_InitStruct.Pull = GPIO_NOPULL;
  GPIO_InitStruct.Speed = GPIO_SPEED_FREQ_VERY_HIGH;
  HAL_GPIO_Init(TEST_PIN_GPIO_Port, &GPIO_InitStruct);

  /*Configure GPIO pins : PA5 PA6 */
  GPIO_InitStruct.Pin = GPIO_PIN_5|GPIO_PIN_6;
  GPIO_InitStruct.Mode = GPIO_MODE_OUTPUT_OD;
  GPIO_InitStruct.Pull = GPIO_NOPULL;
  GPIO_InitStruct.Speed = GPIO_SPEED_FREQ_HIGH;
  HAL_GPIO_Init(GPIOA, &GPIO_InitStruct);

  /*Configure GPIO pin : NPWRDWN_Pin */
  GPIO_InitStruct.Pin = NPWRDWN_Pin;
  GPIO_InitStruct.Mode = GPIO_MODE_INPUT;
  GPIO_InitStruct.Pull = GPIO_NOPULL;
  HAL_GPIO_Init(NPWRDWN_GPIO_Port, &GPIO_InitStruct);

  /*Configure GPIO pin : NWAKE_Pin */
  GPIO_InitStruct.Pin = NWAKE_Pin;
  GPIO_InitStruct.Mode = GPIO_MODE_OUTPUT_OD;
  GPIO_InitStruct.Pull = GPIO_NOPULL;
  GPIO_InitStruct.Speed = GPIO_SPEED_FREQ_LOW;
  HAL_GPIO_Init(NWAKE_GPIO_Port, &GPIO_InitStruct);

  /*Configure GPIO pins : GREAD_Pin PWR_Pin */
  GPIO_InitStruct.Pin = GREAD_Pin|PWR_Pin;
  GPIO_InitStruct.Mode = GPIO_MODE_INPUT;
  GPIO_InitStruct.Pull = GPIO_NOPULL;
  HAL_GPIO_Init(GPIOB, &GPIO_InitStruct);

  /*Configure GPIO pins : NTRIG_Pin ENW_Pin */
  GPIO_InitStruct.Pin = NTRIG_Pin|ENW_Pin;
  GPIO_InitStruct.Mode = GPIO_MODE_OUTPUT_OD;
  GPIO_InitStruct.Pull = GPIO_NOPULL;
  GPIO_InitStruct.Speed = GPIO_SPEED_FREQ_LOW;
  HAL_GPIO_Init(GPIOB, &GPIO_InitStruct);

  /*Configure GPIO pins : BUZ_Pin OFFON_Pin */
  GPIO_InitStruct.Pin = BUZ_Pin|OFFON_Pin;
  GPIO_InitStruct.Mode = GPIO_MODE_OUTPUT_PP;
  GPIO_InitStruct.Pull = GPIO_NOPULL;
  GPIO_InitStruct.Speed = GPIO_SPEED_FREQ_LOW;
  HAL_GPIO_Init(GPIOB, &GPIO_InitStruct);

  /*Configure GPIO pins : DSP_CS_Pin DSP_RES_Pin DSP_DC_Pin DSP_BL_Pin */
  GPIO_InitStruct.Pin = DSP_CS_Pin|DSP_RES_Pin|DSP_DC_Pin|DSP_BL_Pin;
  GPIO_InitStruct.Mode = GPIO_MODE_OUTPUT_PP;
  GPIO_InitStruct.Pull = GPIO_NOPULL;
  GPIO_InitStruct.Speed = GPIO_SPEED_FREQ_HIGH;
  HAL_GPIO_Init(GPIOC, &GPIO_InitStruct);

  /*Configure GPIO pins : W4_Pin W3_Pin W2_Pin W1_Pin */
  GPIO_InitStruct.Pin = W4_Pin|W3_Pin|W2_Pin|W1_Pin;
  GPIO_InitStruct.Mode = GPIO_MODE_INPUT;
  GPIO_InitStruct.Pull = GPIO_PULLUP;
  HAL_GPIO_Init(GPIOA, &GPIO_InitStruct);

  /*Configure GPIO pin : EN3_Pin */
  GPIO_InitStruct.Pin = EN3_Pin;
  GPIO_InitStruct.Mode = GPIO_MODE_OUTPUT_PP;
  GPIO_InitStruct.Pull = GPIO_NOPULL;
  GPIO_InitStruct.Speed = GPIO_SPEED_FREQ_VERY_HIGH;
  HAL_GPIO_Init(EN3_GPIO_Port, &GPIO_InitStruct);

}

void Error_Handler(void)
{
  __disable_irq();
  while (1)
  {
  }
}
